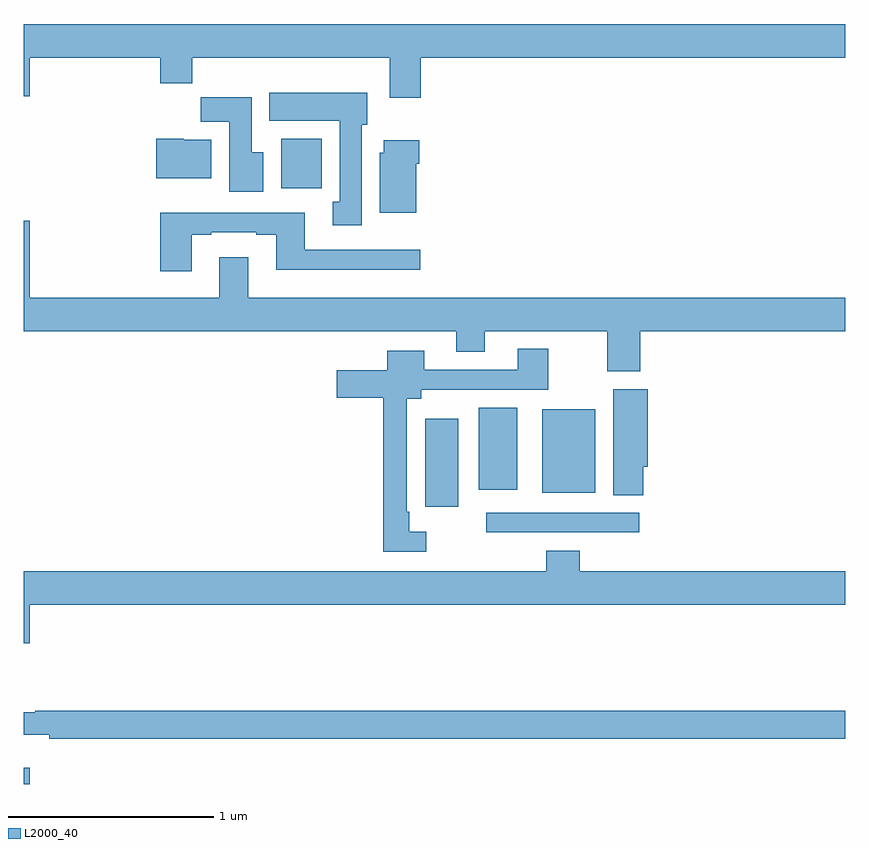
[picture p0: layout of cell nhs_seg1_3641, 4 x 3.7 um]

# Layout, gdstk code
import gdstk
lib = gdstk.Library(unit=1e-6, precision=1e-09)
def R(c, l, rs):  # rectangles x0, y0, x1, y1
    for r in rs: c.add(gdstk.rectangle(r[:2], r[2:], *l))
def P(c, l, *ps):  # polygons
    for p in ps: c.add(gdstk.Polygon(p, *l))
L2000_40 = (2000, 40)

nhs_seg1_3641 = lib.new_cell('nhs_seg1_3641')
R(nhs_seg1_3641, L2000_40, [(309,544.199,309.028,544.279), (311.253,545.424,311.998,545.52), (310.955,545.55,311.116,545.977), (311.525,545.618,311.782,546.025), (311.216,545.633,311.404,546.031), (310.253,547.1,310.45,547.342)])
P(nhs_seg1_3641, L2000_40, [(309,547.548),(309.028,547.548),(309.028,547.736),(309.665,547.736),(309.665,547.612),(309.821,547.612),(309.821,547.736),(310.781,547.736),(310.781,547.542),(310.934,547.542),(310.934,547.736),(313,547.736),(313,547.9),(309,547.9)],
  [(310.645,547.41),(310.672,547.41),(310.672,547.564),(310.196,547.564),(310.196,547.43),(310.538,547.43),(310.538,547.034),(310.505,547.034),(310.505,546.921),(310.645,546.921)],
  [(310.165,547.276),(310.111,547.276),(310.111,547.543),(309.862,547.543),(309.862,547.424),(310.001,547.424),(310.001,547.083),(310.165,547.083)],
  [(309.913,547.336),(309.78,547.336),(309.78,547.342),(309.644,547.342),(309.644,547.148),(309.913,547.148)],
  [(310.912,547.22),(310.925,547.22),(310.925,547.333),(310.754,547.333),(310.754,547.272),(310.733,547.272),(310.733,546.98),(310.912,546.98)],
  [(309.817,546.873),(309.913,546.873),(309.913,546.885),(310.133,546.885),(310.133,546.873),(310.229,546.873),(310.229,546.704),(310.93,546.704),(310.93,546.801),(310.369,546.801),(310.369,546.981),(309.905,546.981),(309.905,546.982),(309.665,546.982),(309.665,546.696),(309.817,546.696)],
  [(312.002,546.404),(313,546.404),(313,546.568),(310.093,546.568),(310.093,546.763),(309.953,546.763),(309.953,546.568),(309.028,546.568),(309.028,546.943),(309,546.943),(309,546.404),(311.105,546.404),(311.105,546.305),(311.245,546.305),(311.245,546.404),(311.842,546.404),(311.842,546.21),(312.002,546.21)],
  [(310.96,545.427),(310.878,545.427),(310.878,545.524),(310.866,545.524),(310.866,546.074),(310.936,546.074),(310.936,546.12),(311.553,546.12),(311.553,546.319),(311.405,546.319),(311.405,546.216),(310.951,546.216),(310.951,546.31),(310.769,546.31),(310.769,546.214),(310.524,546.214),(310.524,546.08),(310.75,546.08),(310.75,545.331),(310.96,545.331)],
  [(312.017,545.745),(312.038,545.745),(312.038,546.121),(311.87,546.121),(311.87,545.605),(312.017,545.605)],
  [(309.028,545.072),(313,545.072),(313,545.236),(311.708,545.236),(311.708,545.335),(311.543,545.335),(311.543,545.236),(309,545.236),(309,544.884),(309.028,544.884)],
  [(313,544.556),(309.055,544.556),(309.055,544.549),(309,544.549),(309,544.439),(309.124,544.439),(309.124,544.42),(313,544.42)])

lib.write_gds('nhs_seg1_3641.gds')
